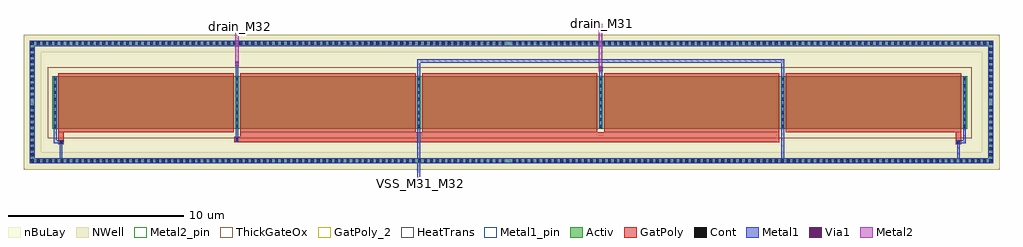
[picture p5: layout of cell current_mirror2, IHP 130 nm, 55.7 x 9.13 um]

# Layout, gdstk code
from math import pi, radians
import gdstk
lib = gdstk.Library(unit=1e-6, precision=5e-09)
def R(c, l, rs):  # rectangles x0, y0, x1, y1
    for r in rs: c.add(gdstk.rectangle(r[:2], r[2:], *l))
def A(c, l, x, y, w, h, nx, ny, dx, dy):  # array of equal rectangles
    R(c, l, [(x+i*dx, y+j*dy, x+i*dx+w, y+j*dy+h) for i in range(nx) for j in range(ny)])
def P(c, l, *ps):  # polygons
    for p in ps: c.add(gdstk.Polygon(p, *l))
Activ = (1, 0)
GatPoly = (5, 0)
GatPoly_2 = (5, 2)
Cont = (6, 0)
Metal1 = (8, 0)
Metal1_pin = (8, 2)
Metal2 = (10, 0)
Metal2_pin = (10, 2)
Via1 = (19, 0)
NWell = (31, 0)
nBuLay = (32, 0)
ThickGateOx = (44, 0)
HeatTrans = (51, 0)

via_stack_5 = lib.new_cell('via_stack$5')
R(via_stack_5, GatPoly, [(-0.15,-0.15,0.15,0.15)])
R(via_stack_5, Cont, [(-0.08,-0.08,0.08,0.08)])
R(via_stack_5, Metal1, [(-0.13,-0.08,0.13,0.08)])

guard_ring = lib.new_cell('guard_ring')
R(guard_ring, Activ, [(-27.5,-3.2,-27.2,3.2), (27.2,-3.2,27.5,3.2), (-27.5,3.2,27.5,3.5)])
P(guard_ring, Activ, [(-27.5,-3.5),(-27.5,3.2),(-27.2,3.2),(-27.2,-3.2),(27.2,-3.2),(27.2,3.2),(-27.5,3.2),(-27.5,3.5),(27.5,3.5),(27.5,-3.5)])
A(guard_ring, Cont, -27.43, -3.43, 0.16, 0.16, 80, 2, 0.34, 6.7)
A(guard_ring, Cont, 0.07, -3.43, 0.16, 0.16, 81, 2, 0.34, 6.7)
A(guard_ring, Cont, -27.43, -3.09, 0.16, 0.16, 1, 9, 0, 0.34)
A(guard_ring, Cont, 27.27, -3.09, 0.16, 0.16, 1, 9, 0, 0.34)
A(guard_ring, Cont, -27.43, 0.21, 0.16, 0.16, 1, 9, 0, 0.34)
A(guard_ring, Cont, 27.27, 0.21, 0.16, 0.16, 1, 9, 0, 0.34)
R(guard_ring, Metal1, [(-27.5,-3.5,27.5,-3.2), (-27.5,-3.2,-27.2,3.2), (27.2,-3.2,27.5,3.2), (-27.5,3.2,27.5,3.5)])
R(guard_ring, NWell, [(-27.85,-3.85,27.85,3.85)])
R(guard_ring, nBuLay, [(-27.85,-2.85,-26.85,2.85), (26.85,-2.85,27.85,2.85), (-27.85,2.85,27.85,3.85)])
P(guard_ring, nBuLay, [(-27.85,-3.85),(-27.85,2.85),(-26.85,2.85),(-26.85,-2.85),(26.85,-2.85),(26.85,2.85),(-27.85,2.85),(-27.85,3.85),(27.85,3.85),(27.85,-3.85)])
guard_ring.add(gdstk.Label('well', (0,-3.35), layer=63, texttype=0))

nmoshv_5 = lib.new_cell('nmosHV$5')
A(nmoshv_5, Activ, 0, 0, 0.3, 0.3, 6, 1, 10.38, 0)
R(nmoshv_5, Activ, [(0,0,52.2,3)])
A(nmoshv_5, GatPoly, 0.34, -0.18, 10, 3.36, 5, 1, 10.38, 0)
R(nmoshv_5, GatPoly_2, [(0.34,-0.18,10.34,3.18)])
A(nmoshv_5, Cont, 0.07, 0.07, 0.16, 0.16, 6, 7, 10.38, 0.385)
A(nmoshv_5, Cont, 0.07, 2.77, 0.16, 0.16, 6, 1, 10.38, 0)
A(nmoshv_5, Metal1, 0.07, 0, 0.16, 3, 6, 1, 10.38, 0)
R(nmoshv_5, Metal1_pin, [(0.07,0,0.23,3), (10.45,0,10.61,3)])
R(nmoshv_5, ThickGateOx, [(-0.27,-0.52,52.47,3.52)])
A(nmoshv_5, HeatTrans, 0.34, -0.18, 10, 3.36, 5, 1, 10.38, 0)
nmoshv_5.add(gdstk.Label('nmosHV', (5.34,1.5), layer=63, texttype=0))
nmoshv_5.add(gdstk.Label('nmosHV', (5.34,1.5), layer=51, texttype=0))
nmoshv_5.add(gdstk.Label('nmosHV', (15.72,1.5), layer=51, texttype=0))
nmoshv_5.add(gdstk.Label('nmosHV', (26.1,1.5), layer=51, texttype=0))
nmoshv_5.add(gdstk.Label('nmosHV', (36.48,1.5), layer=51, texttype=0))
nmoshv_5.add(gdstk.Label('nmosHV', (46.86,1.5), layer=51, texttype=0))

via_stack = lib.new_cell('via_stack')
R(via_stack, Metal1, [(-0.145,-0.105,0.145,0.105)])
R(via_stack, Metal2, [(-0.145,-0.1,0.145,0.1)])
R(via_stack, Via1, [(-0.095,-0.095,0.095,0.095)])

current_mirror2 = lib.new_cell('current_mirror2')
R(current_mirror2, GatPoly, [(-11.475,-0.645,-11.175,0.05), (39.745,-0.645,40.045,0.05), (-1.435,-0.525,-1.095,-0.225), (-1.095,-0.525,29.665,0.05)])
R(current_mirror2, Metal1, [(9.015,-2.885,9.175,0.23), (-11.405,-1.44,-11.245,-0.575), (29.775,-1.44,29.935,0.23), (39.815,-1.44,39.975,-0.575), (-11.745,-0.575,-11.195,-0.415), (-11.745,-0.575,-11.585,0.23), (39.765,-0.575,40.315,-0.415), (40.155,-0.575,40.315,0.23), (-1.365,-0.505,-1.205,0.23), (-1.365,3.23,-1.205,4.085), (9.015,3.23,9.175,4.205), (19.395,3.23,19.555,3.81), (29.775,3.23,29.935,4.205), (9.015,4,29.935,4.205)])
R(current_mirror2, Metal1_pin, [(9.015,-2.885,9.175,-2.725)])
R(current_mirror2, Metal2, [(19.37,3.52,19.57,3.81), (19.37,3.52,19.57,6.245), (-1.39,3.795,-1.19,4.085), (-1.39,3.795,-1.19,6.195)])
R(current_mirror2, Metal2_pin, [(19.37,6.02,19.57,6.245)])
P(current_mirror2, Metal2_pin, [(-1.39,5.97),(-1.39,6.195),(-1.27,6.195),(-1.19,6.195),(-1.19,5.97),(-1.245,5.97)])
current_mirror2.add(gdstk.Reference(via_stack_5, (39.895,-0.495)))
current_mirror2.add(gdstk.Reference(guard_ring, (14.38,1.76)))
current_mirror2.add(gdstk.Reference(nmoshv_5, (-11.815,0.23)))
current_mirror2.add(gdstk.Reference(via_stack_5, (-11.325,-0.495), rotation=pi, x_reflection=True))
current_mirror2.add(gdstk.Reference(via_stack_5, (-1.285,-0.375), rotation=3*pi/2))
current_mirror2.add(gdstk.Reference(via_stack, (19.47,3.665), rotation=3*pi/2))
current_mirror2.add(gdstk.Reference(via_stack, (-1.29,3.94), rotation=3*pi/2))
current_mirror2.add(gdstk.Label('VSS_M31_M32', (9.17,-2.89), layer=8, texttype=0))
current_mirror2.add(gdstk.Label('drain_M31', (19.575,6.23), layer=10, texttype=0))
current_mirror2.add(gdstk.Label('drain_M32', (-1.095,6.1), layer=10, texttype=0))

lib.write_gds('current_mirror2.gds')
